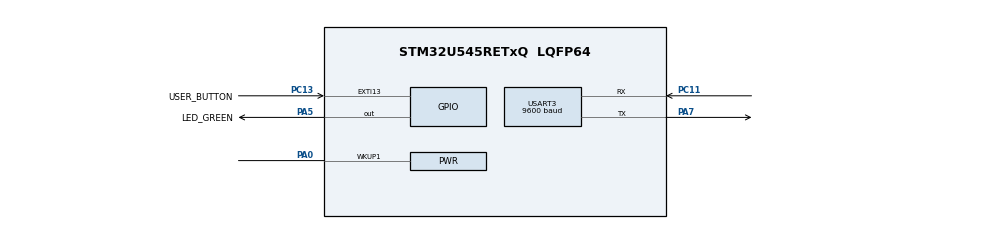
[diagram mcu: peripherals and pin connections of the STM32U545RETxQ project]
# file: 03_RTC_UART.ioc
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CORTEX_M33_NS.userName=CORTEX_M33
Mcu.Family=STM32U5
Mcu.Name=STM32U545RETxQ
Mcu.Package=LQFP64
NVIC.EXTI13_IRQn=true\:0\:0\:false\:false\:true\:true\:true\:true
NVIC.PWR_S3WU_IRQn=true\:0\:0\:false\:false\:true\:true\:true\:true
NVIC.PriorityGroup=NVIC_PRIORITYGROUP_4
NVIC.RTC_IRQn=true\:0\:0\:false\:false\:true\:true\:true\:true
PA0.Mode=WakeUp1
PA0.Signal=PWR_WKUP1
PA5.GPIO_Label=LED_GREEN
PA5.GPIO_PuPd=GPIO_PULLUP
PA5.GPIO_Speed=GPIO_SPEED_FREQ_HIGH
PA5.Signal=GPIO_Output
PA7.Mode=Asynchronous
PA7.Signal=USART3_TX
PC11.Mode=Asynchronous
PC11.Signal=USART3_RX
PC13.GPIO_Label=USER_BUTTON
PC13.GPIO_ModeDefaultEXTI=GPIO_MODE_IT_FALLING
PC13.Signal=GPXTI13
PC14-OSC32_IN\ (PC14).Mode=LSE-External-Oscillator
PC14-OSC32_IN\ (PC14).Signal=RCC_OSC32_IN
PC15-OSC32_OUT\ (PC15).Mode=LSE-External-Oscillator
PC15-OSC32_OUT\ (PC15).Signal=RCC_OSC32_OUT
PWR.PowerMode=PWR_SMPS_SUPPLY
ProjectManager.HeapSize=0x200
ProjectManager.StackSize=0x400
ProjectManager.TargetToolchain=STM32CubeIDE
RCC.ADCFreq_Value=16000000
RCC.DACCLockSelectionVirtual=RCC_DAC1CLKSOURCE_LSI
RCC.DACCLockSelectionVirtualString=RCC_DAC1CLKSOURCE_LSI
RCC.EPOD_VALUE=4000000
RCC.HSE_VALUE=16000000
RCC.HSI48_VALUE=48000000
RCC.HSI_VALUE=16000000
RCC.LPUART1CLockSelectionVirtual=RCC_LPUART1CLKSOURCE_HSI
RCC.LSIDIV_VALUE=32000
RCC.MSI_VALUE=4000000
RCC.RTCClockSelection=RCC_RTCCLKSOURCE_LSE
RCC.USBFreq_Value=48000000
RCC.VCOOutputFreq_Value=516000000
RTC.Alarm-Alarm\ A=RTC_ALARM_A
RTC.AlarmMaskDateWeekDay-Alarm\ A=RTC_ALARMMASK_DATEWEEKDAY
RTC.AlarmMaskHours-Alarm\ A=RTC_ALARMMASK_HOURS
RTC.AlarmMaskMinutes-Alarm\ A=RTC_ALARMMASK_MINUTES
RTC.Format=RTC_FORMAT_BIN
RTC.Hours=12
RTC.Minutes=30
RTC.Seconds_A-Alarm\ A=30
USART3.BaudRate=9600
USART3.VirtualMode-Asynchronous=VM_ASYNC
VP_ICACHE_VS_ICACHE.Mode=DirectMappedCache
VP_LPBAMQUEUE_VS_QUEUE.Mode=QUEUEMODE
VP_LPBAM_VS_SIG1.Mode=SmartRun
VP_LPBAM_VS_SIG4.Mode=LPDMA1
VP_MEMORYMAP_VS_MEMORYMAP.Mode=CurAppReg
VP_PWR_VS_LPOM.Mode=PowerOptimisation
VP_PWR_VS_SECSignals.Mode=Security/Privilege
VP_RTC_VS_RTC_Activate.Mode=RTC_Enabled
VP_RTC_VS_RTC_Alarm_A_Intern.Mode=Alarm A
VP_RTC_VS_RTC_Calendar.Mode=RTC_Calendar
board=NUCLEO-U545RE-Q

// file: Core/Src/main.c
/* USER CODE BEGIN Header */
/**
 ******************************************************************************
 * @file           : main.c
 * @brief          : Main program body
 ******************************************************************************
 * @attention
 *
 * Copyright (c) 2024 STMicroelectronics.
 * All rights reserved.
 *
 * This software is licensed under terms that can be found in the LICENSE file
 * in the root directory of this software component.
 * If no LICENSE file comes with this software, it is provided AS-IS.
 *
 ******************************************************************************
 */
/* USER CODE END Header */
#include "main.h"

RTC_HandleTypeDef hrtc;

UART_HandleTypeDef huart3;

void SystemClock_Config(void);
static void SystemPower_Config(void);
static void MX_GPIO_Init(void);
static void MX_ICACHE_Init(void);
static void MX_RTC_Init(void);
static void MX_USART3_UART_Init(void);
/* USER CODE BEGIN PFP */
void Enter_Shutdown_Mode(void) {
	// Ensure all wakeup flags are cleared
	PWR->WUSCR |= PWR_WUSCR_CWUF;

	// Enable Wakeup pin (WKUP1) as wakeup source
	PWR->WUCR1 |= PWR_WAKEUP_PIN2_HIGH_1;

	// Select Shutdown mode in power control register
	PWR->CR1 &= ~PWR_CR1_LPMS;
	PWR->CR1 |= (0b11 << PWR_CR1_LPMS_Pos);

	// Set the SLEEPDEEP bit in Cortex System Control Register
	SCB->SCR |= SCB_SCR_SLEEPDEEP_Msk;

	// Request Wait For Interrupt
	__WFI();
}
/* USER CODE END PFP */

int main(void)
{

  /* MCU Configuration--------------------------------------------------------*/

  /* Reset of all peripherals, Initializes the Flash interface and the Systick. */
  HAL_Init();

  /* Configure the system clock */
  SystemClock_Config();

  /* Configure the System Power */
  SystemPower_Config();

  /* Initialize all configured peripherals */
  MX_GPIO_Init();
  MX_ICACHE_Init();
  MX_RTC_Init();
  MX_USART3_UART_Init();
  /* USER CODE BEGIN 2 */
	HAL_GPIO_WritePin(LED_GREEN_GPIO_Port, LED_GREEN_Pin, 1);
	HAL_Delay(100);
	HAL_GPIO_WritePin(LED_GREEN_GPIO_Port, LED_GREEN_Pin, 0);
	HAL_Delay(100);

  /* USER CODE END 2 */

  /* Infinite loop */
	while (1) {

    /* USER CODE BEGIN 3 */
		HAL_GPIO_WritePin(LED_GREEN_GPIO_Port, LED_GREEN_Pin, 1);
		HAL_Delay(100);
		HAL_GPIO_WritePin(LED_GREEN_GPIO_Port, LED_GREEN_Pin, 0);
		HAL_Delay(100);
		HAL_GPIO_WritePin(LED_GREEN_GPIO_Port, LED_GREEN_Pin, 1);
		HAL_Delay(100);
		HAL_GPIO_WritePin(LED_GREEN_GPIO_Port, LED_GREEN_Pin, 0);
		HAL_Delay(100);
		HAL_GPIO_WritePin(LED_GREEN_GPIO_Port, LED_GREEN_Pin, 1);
		HAL_Delay(100);
		HAL_GPIO_WritePin(LED_GREEN_GPIO_Port, LED_GREEN_Pin, 0);
		HAL_Delay(100);
		printf("Going to Shutdown Mode\r\n");
		HAL_Delay(100);
		HAL_SuspendTick();
		Enter_Shutdown_Mode();
		HAL_ResumeTick();
		SystemClock_Config();
		HAL_Delay(100);
		SystemPower_Config();
		HAL_Delay(1000);

	}
  /* USER CODE END 3 */
}

void SystemClock_Config(void)
{
  RCC_OscInitTypeDef RCC_OscInitStruct = {0};
  RCC_ClkInitTypeDef RCC_ClkInitStruct = {0};

  /** Configure the main internal regulator output voltage
  */
  if (HAL_PWREx_ControlVoltageScaling(PWR_REGULATOR_VOLTAGE_SCALE4) != HAL_OK)
  {
    Error_Handler();
  }

  /** Configure LSE Drive Capability
  */
  HAL_PWR_EnableBkUpAccess();
  __HAL_RCC_LSEDRIVE_CONFIG(RCC_LSEDRIVE_LOW);

  /** Initializes the CPU, AHB and APB buses clocks
  */
  RCC_OscInitStruct.OscillatorType = RCC_OSCILLATORTYPE_LSE|RCC_OSCILLATORTYPE_MSI;
  RCC_OscInitStruct.LSEState = RCC_LSE_ON;
  RCC_OscInitStruct.MSIState = RCC_MSI_ON;
  RCC_OscInitStruct.MSICalibrationValue = RCC_MSICALIBRATION_DEFAULT;
  RCC_OscInitStruct.MSIClockRange = RCC_MSIRANGE_4;
  RCC_OscInitStruct.PLL.PLLState = RCC_PLL_NONE;
  if (HAL_RCC_OscConfig(&RCC_OscInitStruct) != HAL_OK)
  {
    Error_Handler();
  }

  /** Initializes the CPU, AHB and APB buses clocks
  */
  RCC_ClkInitStruct.ClockType = RCC_CLOCKTYPE_HCLK|RCC_CLOCKTYPE_SYSCLK
                              |RCC_CLOCKTYPE_PCLK1|RCC_CLOCKTYPE_PCLK2
                              |RCC_CLOCKTYPE_PCLK3;
  RCC_ClkInitStruct.SYSCLKSource = RCC_SYSCLKSOURCE_MSI;
  RCC_ClkInitStruct.AHBCLKDivider = RCC_SYSCLK_DIV1;
  RCC_ClkInitStruct.APB1CLKDivider = RCC_HCLK_DIV1;
  RCC_ClkInitStruct.APB2CLKDivider = RCC_HCLK_DIV1;
  RCC_ClkInitStruct.APB3CLKDivider = RCC_HCLK_DIV1;

  if (HAL_RCC_ClockConfig(&RCC_ClkInitStruct, FLASH_LATENCY_0) != HAL_OK)
  {
    Error_Handler();
  }
}

/**
  * @brief Power Configuration
  * @retval None
  */
static void SystemPower_Config(void)
{

  /*
   * Switch to SMPS regulator instead of LDO
   */
  if (HAL_PWREx_ConfigSupply(PWR_SMPS_SUPPLY) != HAL_OK)
  {
    Error_Handler();
  }
  /* PWR_S3WU_IRQn interrupt configuration */
  HAL_NVIC_SetPriority(PWR_S3WU_IRQn, 0, 0);
  HAL_NVIC_EnableIRQ(PWR_S3WU_IRQn);
}

static void MX_ICACHE_Init(void)
{

  /** Enable instruction cache in 1-way (direct mapped cache)
  */
  if (HAL_ICACHE_ConfigAssociativityMode(ICACHE_1WAY) != HAL_OK)
  {
    Error_Handler();
  }
  if (HAL_ICACHE_Enable() != HAL_OK)
  {
    Error_Handler();
  }

}

static void MX_RTC_Init(void)
{

  RTC_PrivilegeStateTypeDef privilegeState = {0};
  RTC_TimeTypeDef sTime = {0};
  RTC_DateTypeDef sDate = {0};
  RTC_AlarmTypeDef sAlarm = {0};

  /** Initialize RTC Only
  */
  hrtc.Instance = RTC;
  hrtc.Init.HourFormat = RTC_HOURFORMAT_24;
  hrtc.Init.AsynchPrediv = 127;
  hrtc.Init.SynchPrediv = 255;
  hrtc.Init.OutPut = RTC_OUTPUT_DISABLE;
  hrtc.Init.OutPutRemap = RTC_OUTPUT_REMAP_NONE;
  hrtc.Init.OutPutPolarity = RTC_OUTPUT_POLARITY_HIGH;
  hrtc.Init.OutPutType = RTC_OUTPUT_TYPE_OPENDRAIN;
  hrtc.Init.OutPutPullUp = RTC_OUTPUT_PULLUP_NONE;
  hrtc.Init.BinMode = RTC_BINARY_NONE;
  if (HAL_RTC_Init(&hrtc) != HAL_OK)
  {
    Error_Handler();
  }
  privilegeState.rtcPrivilegeFull = RTC_PRIVILEGE_FULL_NO;
  privilegeState.backupRegisterPrivZone = RTC_PRIVILEGE_BKUP_ZONE_NONE;
  privilegeState.backupRegisterStartZone2 = RTC_BKP_DR0;
  privilegeState.backupRegisterStartZone3 = RTC_BKP_DR0;
  if (HAL_RTCEx_PrivilegeModeSet(&hrtc, &privilegeState) != HAL_OK)
  {
    Error_Handler();
  }

  /** Initialize RTC and set the Time and Date
  */
  sTime.Hours = 12;
  sTime.Minutes = 30;
  sTime.Seconds = 0;
  sTime.DayLightSaving = RTC_DAYLIGHTSAVING_NONE;
  sTime.StoreOperation = RTC_STOREOPERATION_RESET;
  if (HAL_RTC_SetTime(&hrtc, &sTime, RTC_FORMAT_BIN) != HAL_OK)
  {
    Error_Handler();
  }
  sDate.WeekDay = RTC_WEEKDAY_MONDAY;
  sDate.Month = RTC_MONTH_JANUARY;
  sDate.Date = 1;
  sDate.Year = 0;

  if (HAL_RTC_SetDate(&hrtc, &sDate, RTC_FORMAT_BIN) != HAL_OK)
  {
    Error_Handler();
  }

  /** Enable the Alarm A
  */
  sAlarm.AlarmTime.Hours = 0;
  sAlarm.AlarmTime.Minutes = 0;
  sAlarm.AlarmTime.Seconds = 30;
  sAlarm.AlarmTime.SubSeconds = 0;
  sAlarm.AlarmMask = RTC_ALARMMASK_DATEWEEKDAY|RTC_ALARMMASK_HOURS
                              |RTC_ALARMMASK_MINUTES;
  sAlarm.AlarmSubSecondMask = RTC_ALARMSUBSECONDMASK_ALL;
  sAlarm.AlarmDateWeekDaySel = RTC_ALARMDATEWEEKDAYSEL_DATE;
  sAlarm.AlarmDateWeekDay = 1;
  sAlarm.Alarm = RTC_ALARM_A;
  if (HAL_RTC_SetAlarm_IT(&hrtc, &sAlarm, RTC_FORMAT_BIN) != HAL_OK)
  {
    Error_Handler();
  }

}

static void MX_USART3_UART_Init(void)
{

  huart3.Instance = USART3;
  huart3.Init.BaudRate = 9600;
  huart3.Init.WordLength = UART_WORDLENGTH_8B;
  huart3.Init.StopBits = UART_STOPBITS_1;
  huart3.Init.Parity = UART_PARITY_NONE;
  huart3.Init.Mode = UART_MODE_TX_RX;
  huart3.Init.HwFlowCtl = UART_HWCONTROL_NONE;
  huart3.Init.OverSampling = UART_OVERSAMPLING_16;
  huart3.Init.OneBitSampling = UART_ONE_BIT_SAMPLE_DISABLE;
  huart3.Init.ClockPrescaler = UART_PRESCALER_DIV1;
  huart3.AdvancedInit.AdvFeatureInit = UART_ADVFEATURE_NO_INIT;
  if (HAL_UART_Init(&huart3) != HAL_OK)
  {
    Error_Handler();
  }
  if (HAL_UARTEx_SetTxFifoThreshold(&huart3, UART_TXFIFO_THRESHOLD_1_8) != HAL_OK)
  {
    Error_Handler();
  }
  if (HAL_UARTEx_SetRxFifoThreshold(&huart3, UART_RXFIFO_THRESHOLD_1_8) != HAL_OK)
  {
    Error_Handler();
  }
  if (HAL_UARTEx_DisableFifoMode(&huart3) != HAL_OK)
  {
    Error_Handler();
  }

}

static void MX_GPIO_Init(void)
{
  GPIO_InitTypeDef GPIO_InitStruct = {0};

  /* GPIO Ports Clock Enable */
  __HAL_RCC_GPIOC_CLK_ENABLE();
  __HAL_RCC_GPIOA_CLK_ENABLE();

  /*Configure GPIO pin Output Level */
  HAL_GPIO_WritePin(LED_GREEN_GPIO_Port, LED_GREEN_Pin, GPIO_PIN_RESET);

  /*Configure GPIO pin : USER_BUTTON_Pin */
  GPIO_InitStruct.Pin = USER_BUTTON_Pin;
  GPIO_InitStruct.Mode = GPIO_MODE_IT_FALLING;
  GPIO_InitStruct.Pull = GPIO_NOPULL;
  HAL_GPIO_Init(USER_BUTTON_GPIO_Port, &GPIO_InitStruct);

  /*Configure GPIO pin : LED_GREEN_Pin */
  GPIO_InitStruct.Pin = LED_GREEN_Pin;
  GPIO_InitStruct.Mode = GPIO_MODE_OUTPUT_PP;
  GPIO_InitStruct.Pull = GPIO_PULLUP;
  GPIO_InitStruct.Speed = GPIO_SPEED_FREQ_HIGH;
  HAL_GPIO_Init(LED_GREEN_GPIO_Port, &GPIO_InitStruct);

  /* EXTI interrupt init*/
  HAL_NVIC_SetPriority(EXTI13_IRQn, 0, 0);
  HAL_NVIC_EnableIRQ(EXTI13_IRQn);

/* USER CODE BEGIN MX_GPIO_Init_2 */
  HAL_PWR_EnableWakeUpPin(USER_BUTTON_Pin);
/* USER CODE END MX_GPIO_Init_2 */
}

/* USER CODE BEGIN 4 */
void HAL_RTC_AlarmAEventCallback(RTC_HandleTypeDef *hrtc) {
	RTC_AlarmTypeDef sAlarm;
	RTC_TimeTypeDef sTime;
	RTC_DateTypeDef sDate;
	__HAL_RTC_ALARM_CLEAR_FLAG(&hrtc, RTC_FLAG_WUTF);
	HAL_RTC_GetAlarm(hrtc, &sAlarm, RTC_ALARM_A, FORMAT_BIN);
	HAL_RTC_GetTime(hrtc, &sTime, RTC_FORMAT_BIN);
	HAL_RTC_GetDate(hrtc, &sDate, RTC_FORMAT_BIN);
	if (sAlarm.AlarmTime.Seconds > 49) {
		sAlarm.AlarmTime.Seconds = (sAlarm.AlarmTime.Seconds + 10) % 60;
		sAlarm.AlarmTime.Minutes = (sAlarm.AlarmTime.Minutes + 1) % 60;
		if (sAlarm.AlarmTime.Minutes == 0) {
			sAlarm.AlarmTime.Hours = (sAlarm.AlarmTime.Hours + 1) % 24;
		}
	} else {
		sAlarm.AlarmTime.Seconds += 10;
	}
	while (HAL_RTC_SetAlarm_IT(hrtc, &sAlarm, FORMAT_BIN) != HAL_OK) {
	}
	printf("Wakeup from RTC\r\n");
	printf("Time: %d %d %d\r\n", sTime.Hours, sTime.Minutes, sTime.Seconds);
	HAL_ResumeTick();
}
/* USER CODE END 4 */

void Error_Handler(void)
{
	__disable_irq();
	while (1) {
	}
}
